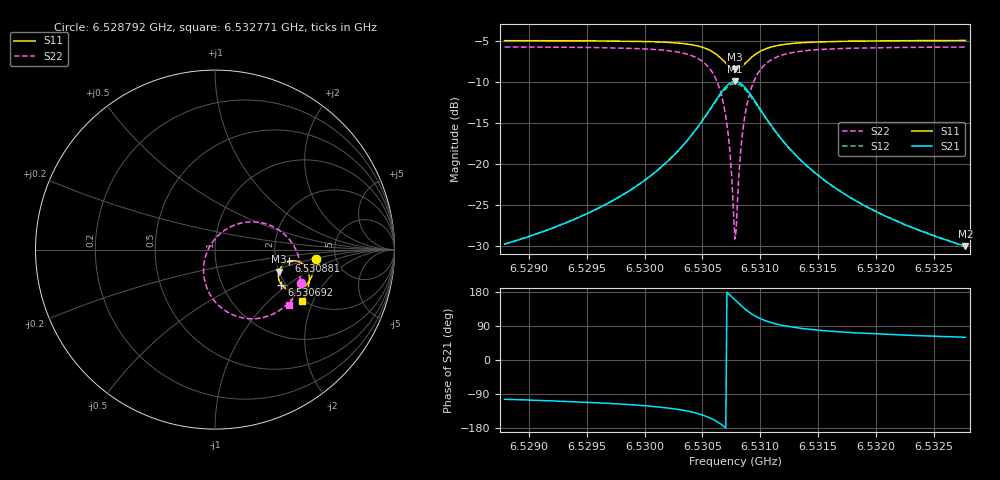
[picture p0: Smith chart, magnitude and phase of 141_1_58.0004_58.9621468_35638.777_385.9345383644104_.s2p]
#  HZ  S  RI  R  50.00
! Rohde & Schwarz Vector Network Analyzer
! Rohde-Schwarz,ZNB20-2Port,1311601062101988,3.16
! Created: UTC 3/21/2024, 12:56:37 AM
! freq[Hz]  re:S11  im:S11  re:S21  im:S21  re:S12  im:S12  re:S22  im:S22
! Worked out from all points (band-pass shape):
!   401 points, 6.528792 GHz to 6.532771 GHz, reference 50 ohm
!   highest |S21| = -9.97 dB at 6.530781 GHz (marker M1); lowest = -30.0 dB at 6.532771 GHz (marker M2)
!   |S21| within 3 dB of the highest: 6.530583 GHz to 6.530982 GHz (398.8 kHz wide, 0.00611 % of centre)
!   lowest |S11| = -8.5 dB at 6.530781 GHz (marker M3), VSWR 2.21, Z = 99.8 - j28.6 ohm
!   |S11| at or under -10 dB: nowhere
!   |S22| runs from -29.2 to -5.8 dB; largest |S21 - S12| = 0.013
!   S11 on the Smith chart (normalised r, x): 6.528792 GHz: 3.49, -0.54; 6.530692 GHz: 1.90, -0.90; 6.530881 GHz: 2.36, -0.37; 6.532771 GHz: 1.96, -1.66
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6.5287915e9  0.5606 -0.0527  -0.00759 -0.0314  -0.00832 -0.0312  0.4814 -0.1834
6.5294581e9  0.5512 -0.1091  -0.0172 -0.0446  -0.0185 -0.0443  0.4492 -0.2463
6.5298263e9  0.5406 -0.144  -0.0296 -0.0584  -0.0311 -0.0576  0.4158 -0.2901
6.5301248e9  0.524 -0.1774  -0.0521 -0.0767  -0.0542 -0.0752  0.3646 -0.3355
6.5303536e9  0.4971 -0.2079  -0.0929 -0.0972  -0.0959 -0.0936  0.281 -0.375
6.5305227e9  0.4524 -0.2278  -0.1635 -0.1039  -0.166 -0.097  0.1508 -0.3796
6.5306222e9  0.4062 -0.2229  -0.2356 -0.077  -0.2347 -0.0667  0.0301 -0.3202
6.5306919e9  0.3696 -0.1948  -0.2887 -0.0166  -0.2826 -0.00591  -0.0475 -0.208
6.5307317e9  0.3558 -0.1662  -0.3053 0.0381  -0.2959 0.0466  -0.064 -0.1141
6.5307715e9  0.3541 -0.1315  -0.3005 0.1007  -0.2892 0.1055  -0.0437 -0.0126
6.5307814e9  0.3559 -0.1227  -0.2955 0.1159  -0.2839 0.1197  -0.0326 0.0116
6.5307914e9  0.3588 -0.1143  -0.2891 0.1307  -0.2773 0.1335  -0.019 0.0345
6.5308013e9  0.3625 -0.1062  -0.2811 0.1448  -0.2693 0.1465  -0.00311 0.0559
6.5308212e9  0.3723 -0.0916  -0.2616 0.1698  -0.2506 0.1695  0.0336 0.0928
6.5308411e9  0.3845 -0.0798  -0.2386 0.1898  -0.2285 0.188  0.0754 0.1214
6.5308809e9  0.4121 -0.0652  -0.1881 0.2139  -0.1807 0.2106  0.163 0.1515
6.5309506e9  0.4566 -0.064  -0.1101 0.2164  -0.1064 0.2131  0.294 0.1401
6.5310501e9  0.496 -0.0857  -0.0428 0.1849  -0.0411 0.183  0.4025 0.07
6.5311993e9  0.5193 -0.1219  -0.00202 0.1368  -0.000819 0.1361  0.4619 -0.0281
6.5314481e9  0.5258 -0.1658  0.0154 0.0896  0.0165 0.0894  0.4766 -0.128
6.5321147e9  0.51 -0.2369  0.0179 0.043  0.0188 0.0428  0.4483 -0.2458
6.5327714e9  0.4862 -0.2875  0.0158 0.0272  0.0162 0.0268  0.4141 -0.3059
